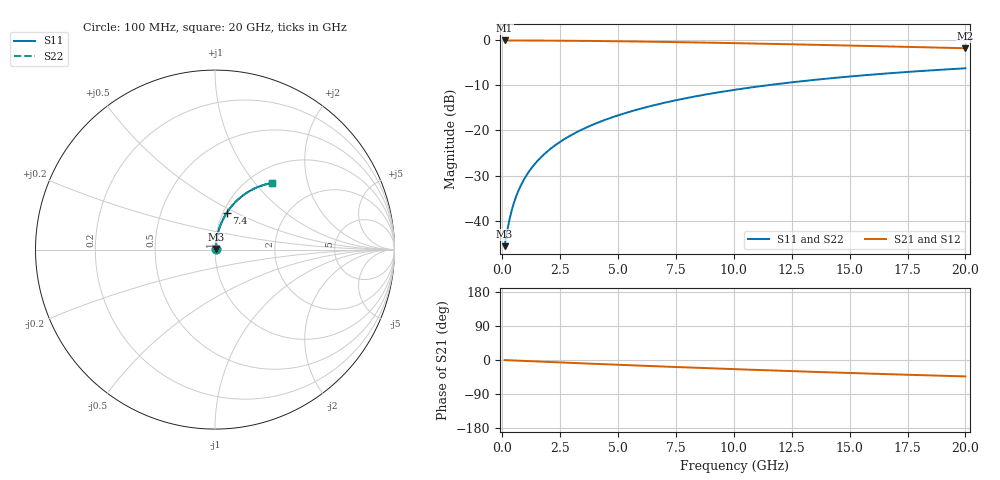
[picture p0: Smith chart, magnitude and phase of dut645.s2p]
! Touchstone file exported from HFSS 2024.1.0
!  File:  C:/UserFiles/LocalFiles/RDL_TSV_Batchsim/temp_RDL_top_645_1779781133.aedt
!  Generated:  03:41:07 PM May 26, 2026
!  Design:  RDL_top
!  Project:  temp_RDL_top_645_1779781133
!  Setup:  Setup1
!  Solution:  Sweep
! Variables:
!  dtsv = 10.80580581um
!  hbump = 3um
!  htsv = 90.67um
!  ldown = 100um
!  lrdl = 561.96um
!  p = 40
!  p1 = 48.89um
!  rhole = 1um
!  t = 450um
!  tdown = 3.915915916um
!  trdl = 4.44um
!  wdown = 15.38538539um
!  wrdl = 10.75um
# GHz S MA R 50.000000
! Terminal data exported
! Port[1] = Box2_T1
! Port[2] = Box2_T2
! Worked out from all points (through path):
!   200 points, 100 MHz to 20 GHz, reference 50 ohm
!   highest |S21| = -0.04 dB at 100 MHz (marker M1); lowest = -1.8 dB at 20 GHz (marker M2)
!   group delay of S21, straight-line fit = 6.02 ps
!   lowest |S11| = -45.7 dB at 100 MHz (marker M3), VSWR 1.01, Z = 50.4 + j0.31 ohm
!   |S11| at or under -10 dB: start of sweep to 11.42 GHz
!   |S22| runs from -45.7 to -6.2 dB; largest |S21 - S12| = 2.7e-15
!   S11 on the Smith chart (normalised r, x): 100 MHz: 1.01, +0.01; 7.4 GHz: 1.04, +0.44; 20 GHz: 1.26, +1.23
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0.1  0.005205 36.2  0.9958 -0.3  0.9958 -0.3  0.005205 36.2
! Gamma 0 0 0 0
! Port Impedance 50 0 50 0
0.2  0.00738 55.0  0.9957 -0.5  0.9957 -0.5  0.007378 55.1
0.3  0.01001 64.5  0.9956 -0.8  0.9956 -0.8  0.01001 64.7
0.4  0.01281 69.9  0.9955 -1.0  0.9955 -1.0  0.01281 70.0
0.5  0.01569 73.3  0.9954 -1.3  0.9954 -1.3  0.0157 73.4
0.6  0.01861 75.5  0.9952 -1.6  0.9952 -1.6  0.01862 75.6
0.8  0.02452 78.1  0.9949 -2.1  0.9949 -2.1  0.02453 78.2
1.1  0.03343 80.0  0.9943 -2.8  0.9943 -2.8  0.03344 80.1
1.5  0.04532 81.0  0.9934 -3.9  0.9934 -3.9  0.04533 81.0
1.8  0.05421 81.1  0.9926 -4.6  0.9926 -4.6  0.05423 81.1
2.1  0.06307 81.1  0.9916 -5.4  0.9916 -5.4  0.06309 81.1
2.7  0.08071 80.5  0.9892 -6.9  0.9892 -6.9  0.08072 80.5
3.5  0.104 79.4  0.9853 -8.9  0.9853 -8.9  0.104 79.5
4.2  0.1242 78.3  0.9812 -10.6  0.9812 -10.6  0.1242 78.3
5  0.147 76.9  0.9758 -12.6  0.9758 -12.6  0.1471 76.9
6.8  0.1972 73.5  0.9615 -16.9  0.9615 -16.9  0.1973 73.5
7.4  0.2136 72.4  0.9561 -18.3  0.9561 -18.3  0.2136 72.4
8.7  0.2481 69.8  0.9437 -21.2  0.9437 -21.2  0.2482 69.9
10.1  0.284 67.1  0.9293 -24.3  0.9293 -24.3  0.284 67.1
13.4  0.3621 60.8  0.8928 -31.2  0.8928 -31.2  0.3622 60.9
16.7  0.4306 54.9  0.8545 -37.5  0.8545 -37.5  0.4307 54.9
20  0.4891 49.3  0.8163 -43.3  0.8163 -43.3  0.4893 49.3
